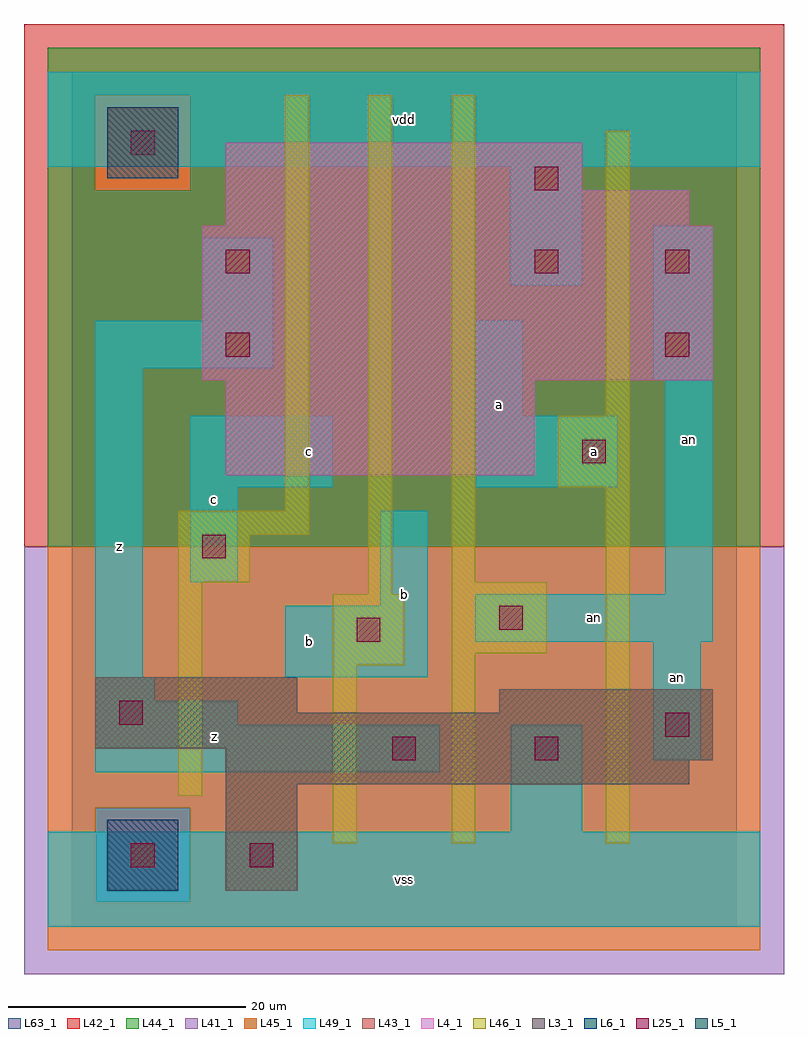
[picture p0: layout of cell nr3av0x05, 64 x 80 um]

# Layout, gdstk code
import gdstk
lib = gdstk.Library(unit=1e-6, precision=1e-09)
def R(c, l, rs):  # rectangles x0, y0, x1, y1
    for r in rs: c.add(gdstk.rectangle(r[:2], r[2:], *l))
L3_1 = (3, 1)
L4_1 = (4, 1)
L5_1 = (5, 1)
L6_1 = (6, 1)
L25_1 = (25, 1)
L41_1 = (41, 1)
L42_1 = (42, 1)
L43_1 = (43, 1)
L44_1 = (44, 1)
L45_1 = (45, 1)
L46_1 = (46, 1)
L49_1 = (49, 1)
L63_1 = (63, 1)

nr3av0x05 = lib.new_cell('nr3av0x05')
R(nr3av0x05, L3_1, [(13,3,19,12), (13,12,52,14), (13,14,54,15), (2,15,54,18), (2,18,19,21), (36,18,54,20)])
R(nr3av0x05, L4_1, [(13,38,39,46), (11,46,54,59), (13,59,52,62), (13,62,43,66)])
R(nr3av0x05, L5_1, [(3,63,9,69)])
R(nr3av0x05, L6_1, [(3,3,9,9), (3,3,9,9)])
R(nr3av0x05, L25_1, [(5,5,7,7), (15,5,17,7), (27,14,29,16), (39,14,41,16), (50,16,52,18), (4,17,6,19), (24,24,26,26), (36,25,38,27), (11,31,13,33), (43,39,45,41), (13,48,15,50), (50,48,52,50), (13,55,15,57), (39,55,41,57), (50,55,52,57), (39,62,41,64), (5,65,7,67)])
R(nr3av0x05, L41_1, [(-4,-4,60,32)])
R(nr3av0x05, L42_1, [(-4,32,60,76)])
R(nr3av0x05, L43_1, [(3,3,9,9), (13,3,19,12), (13,12,52,14), (13,14,54,15), (2,15,54,18), (2,18,19,21), (36,18,54,20), (13,38,39,46), (11,46,54,59), (13,59,52,62), (13,62,43,66), (3,63,9,69)])
R(nr3av0x05, L44_1, [(2,2,10,10), (-2,32,58,62), (-2,62,2,70), (10,62,58,70), (-2,70,58,74)])
R(nr3av0x05, L45_1, [(-2,-2,58,2), (-2,2,2,10), (10,2,58,10), (-2,10,58,32), (2,62,10,70)])
R(nr3av0x05, L46_1, [(22,7,24,22), (32,7,34,23), (45,7,47,37), (9,11,11,29), (22,22,28,28), (32,23,40,29), (25,28,27,70), (9,29,15,33), (32,29,34,70), (9,33,20,35), (18,35,20,70), (41,37,47,43), (45,43,47,67)])
R(nr3av0x05, L49_1, [(-2,0,58,8), (37,8,43,17), (2,13,31,17), (49,14,53,24), (2,17,14,19), (2,19,7,21), (2,21,6,47), (18,21,30,27), (34,24,54,28), (26,27,30,35), (50,28,54,46), (10,29,14,37), (10,37,22,43), (34,37,46,43), (34,43,38,51), (49,46,54,59), (2,47,17,51), (11,51,17,58), (37,54,43,64), (-2,64,58,72)])
R(nr3av0x05, L63_1, [(0,0,56,72)])
nr3av0x05.add(gdstk.Label('z', (4,32), layer=49, texttype=1))
nr3av0x05.add(gdstk.Label('z', (12,16), layer=49, texttype=1))
nr3av0x05.add(gdstk.Label('b', (20,24), layer=49, texttype=1))
nr3av0x05.add(gdstk.Label('c', (20,40), layer=49, texttype=1))
nr3av0x05.add(gdstk.Label('c', (12,36), layer=49, texttype=1))
nr3av0x05.add(gdstk.Label('vss', (28,4), layer=49, texttype=1))
nr3av0x05.add(gdstk.Label('b', (28,28), layer=49, texttype=1))
nr3av0x05.add(gdstk.Label('a', (36,44), layer=49, texttype=1))
nr3av0x05.add(gdstk.Label('vdd', (28,68), layer=49, texttype=1))
nr3av0x05.add(gdstk.Label('an', (51,21), layer=49, texttype=1))
nr3av0x05.add(gdstk.Label('an', (44,26), layer=49, texttype=1))
nr3av0x05.add(gdstk.Label('a', (44,40), layer=49, texttype=1))
nr3av0x05.add(gdstk.Label('an', (52,41), layer=49, texttype=1))

lib.write_gds('nr3av0x05.gds')
